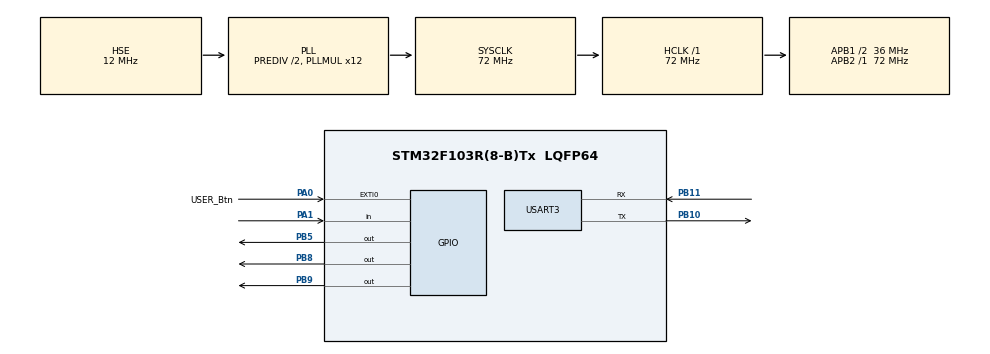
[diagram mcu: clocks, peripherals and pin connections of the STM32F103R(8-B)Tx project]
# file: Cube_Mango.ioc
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Mcu.Family=STM32F1
Mcu.Name=STM32F103R(8-B)Tx
Mcu.Package=LQFP64
NVIC.EXTI0_IRQn=true\:0\:0\:false\:false\:true\:true\:true\:true
NVIC.PriorityGroup=NVIC_PRIORITYGROUP_4
NVIC.TIM2_IRQn=true\:0\:0\:false\:false\:true\:true\:true\:true
NVIC.USART3_IRQn=true\:0\:0\:false\:false\:true\:true\:true\:true
PA0-WKUP.GPIO_Label=USER_Btn
PA0-WKUP.GPIO_ModeDefaultEXTI=GPIO_MODE_IT_RISING
PA0-WKUP.Signal=GPXTI0
PA1.Signal=GPIO_Input
PA13.Mode=Serial_Wire
PA13.Signal=SYS_JTMS-SWDIO
PA14.Mode=Serial_Wire
PA14.Signal=SYS_JTCK-SWCLK
PB10.Mode=Asynchronous
PB10.Signal=USART3_TX
PB11.Mode=Asynchronous
PB11.Signal=USART3_RX
PB5.Signal=GPIO_Output
PB8.Signal=GPIO_Output
PB9.Signal=GPIO_Output
PC14-OSC32_IN.Mode=LSE-External-Oscillator
PC14-OSC32_IN.Signal=RCC_OSC32_IN
PC15-OSC32_OUT.Mode=LSE-External-Oscillator
PC15-OSC32_OUT.Signal=RCC_OSC32_OUT
PD0-OSC_IN.Mode=HSE-External-Oscillator
PD0-OSC_IN.Signal=RCC_OSC_IN
PD1-OSC_OUT.Mode=HSE-External-Oscillator
PD1-OSC_OUT.Signal=RCC_OSC_OUT
ProjectManager.HeapSize=0x200
ProjectManager.StackSize=0x400
ProjectManager.TargetToolchain=STM32CubeIDE
RCC.AHBFreq_Value=72000000
RCC.APB1CLKDivider=RCC_HCLK_DIV2
RCC.APB1Freq_Value=36000000
RCC.APB1TimFreq_Value=72000000
RCC.APB2Freq_Value=72000000
RCC.APB2TimFreq_Value=72000000
RCC.HCLKFreq_Value=72000000
RCC.HSEDivPLL=RCC_HSE_PREDIV_DIV2
RCC.HSE_VALUE=12000000
RCC.PLLMUL=RCC_PLL_MUL12
RCC.PLLSourceVirtual=RCC_PLLSOURCE_HSE
RCC.SYSCLKFreq_VALUE=72000000
RCC.SYSCLKSource=RCC_SYSCLKSOURCE_PLLCLK
RCC.USBFreq_Value=72000000
USART3.VirtualMode=VM_ASYNC
VP_RTC_No_RTC_Output.Mode=RTC_OUT_NO
VP_RTC_VS_RTC_Activate.Mode=RTC_Enabled
VP_TIM2_VS_ClockSourceITR.Mode=TriggerSource_ITR0
board=custom

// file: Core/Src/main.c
/* USER CODE BEGIN Header */
/**
  ******************************************************************************
  * @file           : main.c
  * @brief          : Main program body
  ******************************************************************************
  * @attention
  *
  * Copyright (c) 2022 STMicroelectronics.
  * All rights reserved.
  *
  * This software is licensed under terms that can be found in the LICENSE file
  * in the root directory of this software component.
  * If no LICENSE file comes with this software, it is provided AS-IS.
  *
  ******************************************************************************
  */
/* USER CODE END Header */
#include "main.h"
#include "rtc.h"
#include "tim.h"
#include "usart.h"
#include "gpio.h"

void SystemClock_Config(void);

int main(void)
{

  /* MCU Configuration--------------------------------------------------------*/

  /* Reset of all peripherals, Initializes the Flash interface and the Systick. */
  HAL_Init();

  /* Configure the system clock */
  SystemClock_Config();

  /* Initialize all configured peripherals */
  MX_GPIO_Init();
  MX_RTC_Init();
  MX_USART3_UART_Init();
  MX_TIM2_Init();

  /* Infinite loop */
  while (1)
  {

    /* USER CODE BEGIN 3 */
	HAL_GPIO_WritePin(GPIOB, GPIO_PIN_5| GPIO_PIN_8| GPIO_PIN_9, GPIO_PIN_SET);

	if (HAL_GPIO_ReadPin(GPIOA, GPIO_PIN_0) != 0) {
		if (HAL_GPIO_ReadPin(GPIOA, GPIO_PIN_1) == 0) {
			HAL_GPIO_WritePin(GPIOB, GPIO_PIN_5, GPIO_PIN_RESET);
		}

	} else {
		HAL_GPIO_WritePin(GPIOB, GPIO_PIN_5, GPIO_PIN_SET);
	}

	if (HAL_GPIO_ReadPin(GPIOA, GPIO_PIN_1) != 0) {
		if (HAL_GPIO_ReadPin(GPIOA, GPIO_PIN_0) == 0) {
			HAL_GPIO_WritePin(GPIOB, GPIO_PIN_9, GPIO_PIN_RESET);
		}
	} else {
		HAL_GPIO_WritePin(GPIOB, GPIO_PIN_9, GPIO_PIN_SET);
	}

	if (HAL_GPIO_ReadPin(GPIOA, GPIO_PIN_1) != 0) {
		if (HAL_GPIO_ReadPin(GPIOA, GPIO_PIN_0) != 0) {
			HAL_GPIO_WritePin(GPIOB, GPIO_PIN_8, GPIO_PIN_RESET);
		}
	} else {
		HAL_GPIO_WritePin(GPIOB, GPIO_PIN_8, GPIO_PIN_SET);
	}
  }
  /* USER CODE END 3 */
}

void SystemClock_Config(void)
{
  RCC_OscInitTypeDef RCC_OscInitStruct = {0};
  RCC_ClkInitTypeDef RCC_ClkInitStruct = {0};
  RCC_PeriphCLKInitTypeDef PeriphClkInit = {0};

  /** Initializes the RCC Oscillators according to the specified parameters
  * in the RCC_OscInitTypeDef structure.
  */
  RCC_OscInitStruct.OscillatorType = RCC_OSCILLATORTYPE_LSI|RCC_OSCILLATORTYPE_HSE;
  RCC_OscInitStruct.HSEState = RCC_HSE_ON;
  RCC_OscInitStruct.HSEPredivValue = RCC_HSE_PREDIV_DIV2;
  RCC_OscInitStruct.HSIState = RCC_HSI_ON;
  RCC_OscInitStruct.LSIState = RCC_LSI_ON;
  RCC_OscInitStruct.PLL.PLLState = RCC_PLL_ON;
  RCC_OscInitStruct.PLL.PLLSource = RCC_PLLSOURCE_HSE;
  RCC_OscInitStruct.PLL.PLLMUL = RCC_PLL_MUL12;
  if (HAL_RCC_OscConfig(&RCC_OscInitStruct) != HAL_OK)
  {
    Error_Handler();
  }

  /** Initializes the CPU, AHB and APB buses clocks
  */
  RCC_ClkInitStruct.ClockType = RCC_CLOCKTYPE_HCLK|RCC_CLOCKTYPE_SYSCLK
                              |RCC_CLOCKTYPE_PCLK1|RCC_CLOCKTYPE_PCLK2;
  RCC_ClkInitStruct.SYSCLKSource = RCC_SYSCLKSOURCE_PLLCLK;
  RCC_ClkInitStruct.AHBCLKDivider = RCC_SYSCLK_DIV1;
  RCC_ClkInitStruct.APB1CLKDivider = RCC_HCLK_DIV2;
  RCC_ClkInitStruct.APB2CLKDivider = RCC_HCLK_DIV1;

  if (HAL_RCC_ClockConfig(&RCC_ClkInitStruct, FLASH_LATENCY_2) != HAL_OK)
  {
    Error_Handler();
  }
  PeriphClkInit.PeriphClockSelection = RCC_PERIPHCLK_RTC;
  PeriphClkInit.RTCClockSelection = RCC_RTCCLKSOURCE_LSI;
  if (HAL_RCCEx_PeriphCLKConfig(&PeriphClkInit) != HAL_OK)
  {
    Error_Handler();
  }
}

void Error_Handler(void)
{
  __disable_irq();
  while (1)
  {
  }
}
